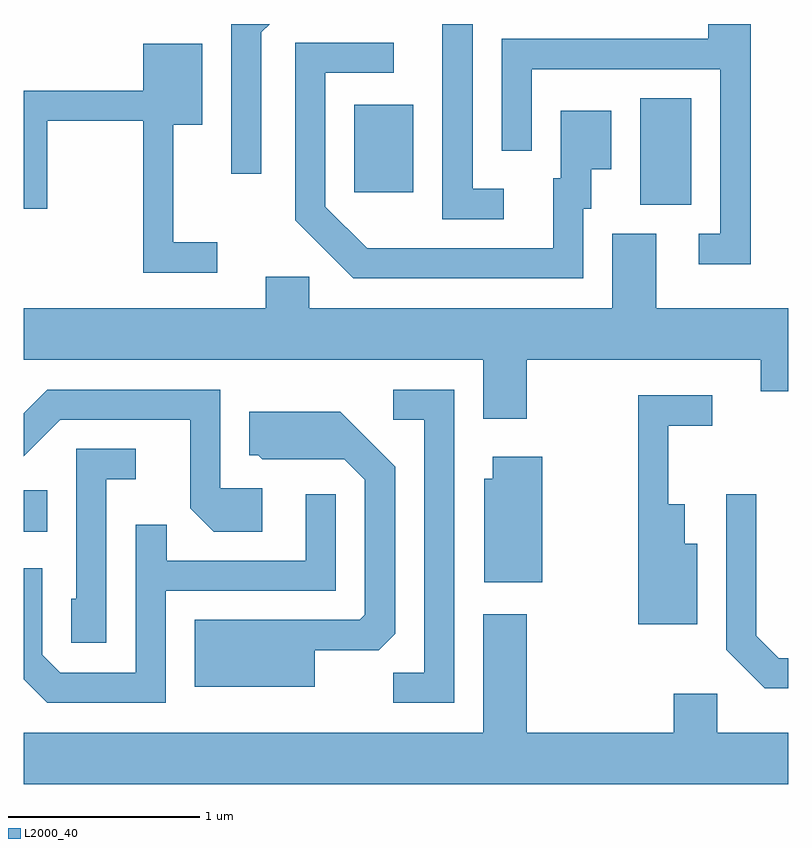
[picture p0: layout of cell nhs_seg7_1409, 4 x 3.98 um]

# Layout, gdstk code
import gdstk
lib = gdstk.Library(unit=1e-6, precision=1e-09)
def R(c, l, rs):  # rectangles x0, y0, x1, y1
    for r in rs: c.add(gdstk.rectangle(r[:2], r[2:], *l))
def P(c, l, *ps):  # polygons
    for p in ps: c.add(gdstk.Polygon(p, *l))
L2000_40 = (2000, 40)

nhs_seg7_1409 = lib.new_cell('nhs_seg7_1409')
R(nhs_seg7_1409, L2000_40, [(227.611,1755.596,227.734,1755.814), (230.836,1757.306,231.104,1757.864), (229.341,1757.371,229.649,1757.829)])
P(nhs_seg7_1409, L2000_40, [(230.123,1757.389),(229.959,1757.389),(229.959,1758.252),(229.801,1758.252),(229.801,1757.231),(230.123,1757.231)],
  [(231.414,1758.252),(231.191,1758.252),(231.191,1758.174),(230.111,1758.174),(230.111,1757.588),(230.269,1757.588),(230.269,1758.016),(231.256,1758.016),(231.256,1757.154),(231.143,1757.154),(231.143,1756.996),(231.414,1756.996)],
  [(228.854,1758.209),(228.897,1758.252),(228.696,1758.252),(228.696,1757.468),(228.854,1757.468)],
  [(230.539,1757.286),(230.579,1757.286),(230.579,1757.491),(230.684,1757.491),(230.684,1757.799),(230.421,1757.799),(230.421,1757.444),(230.381,1757.444),(230.381,1757.079),(229.407,1757.079),(229.189,1757.297),(229.189,1757.996),(229.548,1757.996),(229.548,1758.154),(229.031,1758.154),(229.031,1757.224),(229.334,1756.921),(230.539,1756.921)],
  [(228.623,1757.109),(228.394,1757.109),(228.394,1757.726),(228.544,1757.726),(228.544,1758.149),(228.236,1758.149),(228.236,1757.904),(227.611,1757.904),(227.611,1757.286),(227.734,1757.286),(227.734,1757.746),(228.236,1757.746),(228.236,1756.951),(228.623,1756.951)],
  [(230.244,1756.496),(231.466,1756.496),(231.466,1756.331),(231.611,1756.331),(231.611,1756.764),(230.919,1756.764),(230.919,1757.154),(230.691,1757.154),(230.691,1756.764),(229.104,1756.764),(229.104,1756.929),(228.876,1756.929),(228.876,1756.764),(227.611,1756.764),(227.611,1756.496),(230.016,1756.496),(230.016,1756.186),(230.244,1756.186)],
  [(229.864,1756.339),(229.543,1756.339),(229.543,1756.181),(229.706,1756.181),(229.706,1754.859),(229.543,1754.859),(229.543,1754.701),(229.864,1754.701)],
  [(228.859,1755.824),(228.639,1755.824),(228.639,1756.339),(227.734,1756.339),(227.611,1756.216),(227.611,1755.99),(227.802,1756.181),(228.481,1756.181),(228.481,1755.719),(228.604,1755.596),(228.859,1755.596)],
  [(231.134,1755.534),(231.069,1755.534),(231.069,1755.739),(230.984,1755.739),(230.984,1756.151),(231.213,1756.151),(231.213,1756.309),(230.826,1756.309),(230.826,1755.111),(231.134,1755.111)],
  [(229.134,1754.976),(229.469,1754.976),(229.554,1755.062),(229.554,1755.937),(229.267,1756.224),(228.791,1756.224),(228.791,1755.996),(228.839,1755.996),(228.859,1755.976),(229.289,1755.976),(229.396,1755.869),(229.396,1755.162),(229.369,1755.134),(228.506,1755.134),(228.506,1754.786),(229.134,1754.786)],
  [(228.044,1755.871),(228.198,1755.871),(228.198,1756.029),(227.886,1756.029),(227.886,1755.244),(227.861,1755.244),(227.861,1755.016),(228.044,1755.016)],
  [(230.324,1755.989),(230.066,1755.989),(230.066,1755.874),(230.021,1755.874),(230.021,1755.331),(230.324,1755.331)],
  [(231.611,1754.934),(231.562,1754.934),(231.444,1755.052),(231.444,1755.793),(231.286,1755.793),(231.286,1754.979),(231.489,1754.776),(231.611,1754.776)],
  [(228.354,1755.286),(229.244,1755.286),(229.244,1755.793),(229.086,1755.793),(229.086,1755.444),(228.359,1755.444),(228.359,1755.633),(228.196,1755.633),(228.196,1754.859),(227.802,1754.859),(227.709,1754.952),(227.709,1755.404),(227.611,1755.404),(227.611,1754.824),(227.734,1754.701),(228.354,1754.701)],
  [(231.611,1754.544),(231.239,1754.544),(231.239,1754.749),(231.011,1754.749),(231.011,1754.544),(230.244,1754.544),(230.244,1755.164),(230.016,1755.164),(230.016,1754.544),(227.611,1754.544),(227.611,1754.276),(231.611,1754.276)])

lib.write_gds('nhs_seg7_1409.gds')
